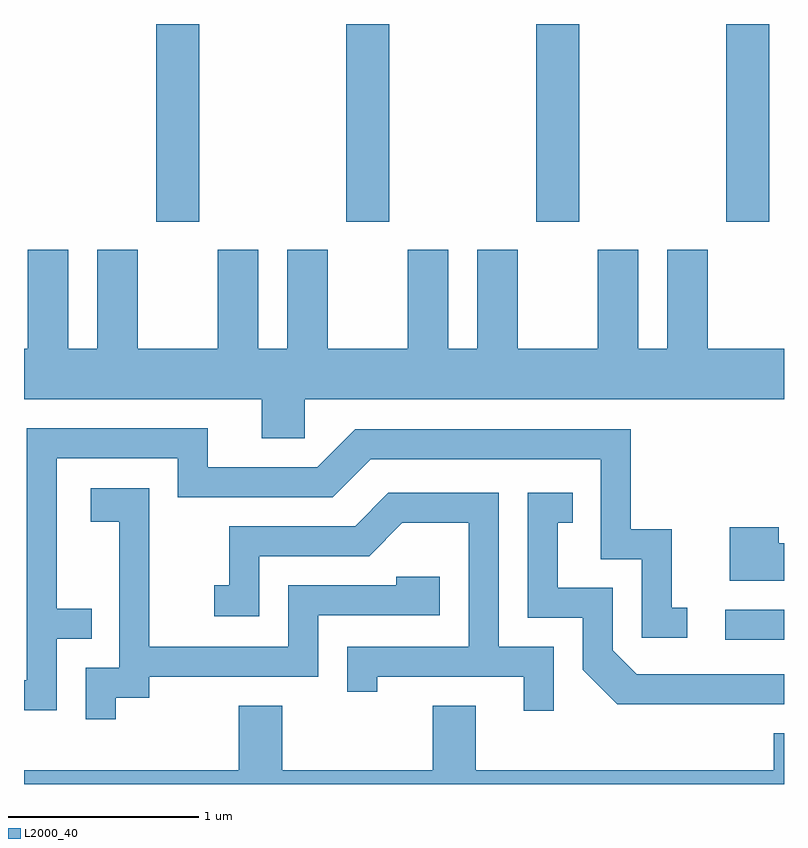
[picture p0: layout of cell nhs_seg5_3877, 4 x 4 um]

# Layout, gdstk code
import gdstk
lib = gdstk.Library(unit=1e-6, precision=1e-09)
def R(c, l, rs):  # rectangles x0, y0, x1, y1
    for r in rs: c.add(gdstk.rectangle(r[:2], r[2:], *l))
def A(c, l, x, y, w, h, nx, ny, dx, dy):  # array of equal rectangles
    R(c, l, [(x+i*dx, y+j*dy, x+i*dx+w, y+j*dy+h) for i in range(nx) for j in range(ny)])
def P(c, l, *ps):  # polygons
    for p in ps: c.add(gdstk.Polygon(p, *l))
L2000_40 = (2000, 40)

nhs_seg5_3877 = lib.new_cell('nhs_seg5_3877')
A(nhs_seg5_3877, L2000_40, 300.306, 1491.031, 0.228, 1.041, 4, 1, 1, 0)
R(nhs_seg5_3877, L2000_40, [(303.303,1488.831,303.611,1488.989)])
P(nhs_seg5_3877, L2000_40, [(301.089,1490.096),(303.611,1490.096),(303.611,1490.364),(303.209,1490.364),(303.209,1490.884),(302.996,1490.884),(302.996,1490.364),(302.844,1490.364),(302.844,1490.884),(302.631,1490.884),(302.631,1490.364),(302.209,1490.364),(302.209,1490.884),(301.996,1490.884),(301.996,1490.364),(301.844,1490.364),(301.844,1490.884),(301.631,1490.884),(301.631,1490.364),(301.209,1490.364),(301.209,1490.884),(300.996,1490.884),(300.996,1490.364),(300.844,1490.364),(300.844,1490.884),(300.631,1490.884),(300.631,1490.364),(300.209,1490.364),(300.209,1490.884),(299.996,1490.884),(299.996,1490.364),(299.844,1490.364),(299.844,1490.884),(299.631,1490.884),(299.631,1490.364),(299.611,1490.364),(299.611,1490.096),(300.861,1490.096),(300.861,1489.891),(301.089,1489.891)],
  [(299.784,1488.836),(299.968,1488.836),(299.968,1488.994),(299.784,1488.994),(299.784,1489.786),(300.421,1489.786),(300.421,1489.581),(301.237,1489.581),(301.437,1489.781),(302.646,1489.781),(302.646,1489.256),(302.861,1489.256),(302.861,1488.841),(303.103,1488.841),(303.103,1488.999),(303.019,1488.999),(303.019,1489.414),(302.804,1489.414),(302.804,1489.939),(301.354,1489.939),(301.154,1489.739),(300.579,1489.739),(300.579,1489.944),(299.626,1489.944),(299.626,1488.619),(299.611,1488.619),(299.611,1488.461),(299.784,1488.461)],
  [(300.094,1488.526),(300.269,1488.526),(300.269,1488.636),(301.159,1488.636),(301.159,1488.961),(301.799,1488.961),(301.799,1489.164),(301.571,1489.164),(301.571,1489.119),(301.001,1489.119),(301.001,1488.794),(300.269,1488.794),(300.269,1489.629),(299.961,1489.629),(299.961,1489.451),(300.111,1489.451),(300.111,1488.684),(299.936,1488.684),(299.936,1488.413),(300.094,1488.413)],
  [(303.611,1488.649),(302.837,1488.649),(302.709,1488.777),(302.709,1489.104),(302.419,1489.104),(302.419,1489.446),(302.498,1489.446),(302.498,1489.604),(302.261,1489.604),(302.261,1488.946),(302.551,1488.946),(302.551,1488.674),(302.734,1488.491),(303.611,1488.491)],
  [(302.399,1488.794),(302.109,1488.794),(302.109,1489.604),(301.529,1489.604),(301.354,1489.429),(300.691,1489.429),(300.691,1489.119),(300.613,1489.119),(300.613,1488.956),(300.849,1488.956),(300.849,1489.271),(301.427,1489.271),(301.602,1489.446),(301.951,1489.446),(301.951,1488.794),(301.311,1488.794),(301.311,1488.558),(301.469,1488.558),(301.469,1488.636),(302.241,1488.636),(302.241,1488.458),(302.399,1488.458)],
  [(303.611,1489.339),(303.584,1489.339),(303.584,1489.424),(303.326,1489.424),(303.326,1489.141),(303.611,1489.141)],
  [(303.611,1488.339),(303.556,1488.339),(303.556,1488.144),(301.989,1488.144),(301.989,1488.484),(301.761,1488.484),(301.761,1488.144),(300.969,1488.144),(300.969,1488.484),(300.741,1488.484),(300.741,1488.144),(299.611,1488.144),(299.611,1488.072),(303.611,1488.072)])

lib.write_gds('nhs_seg5_3877.gds')
